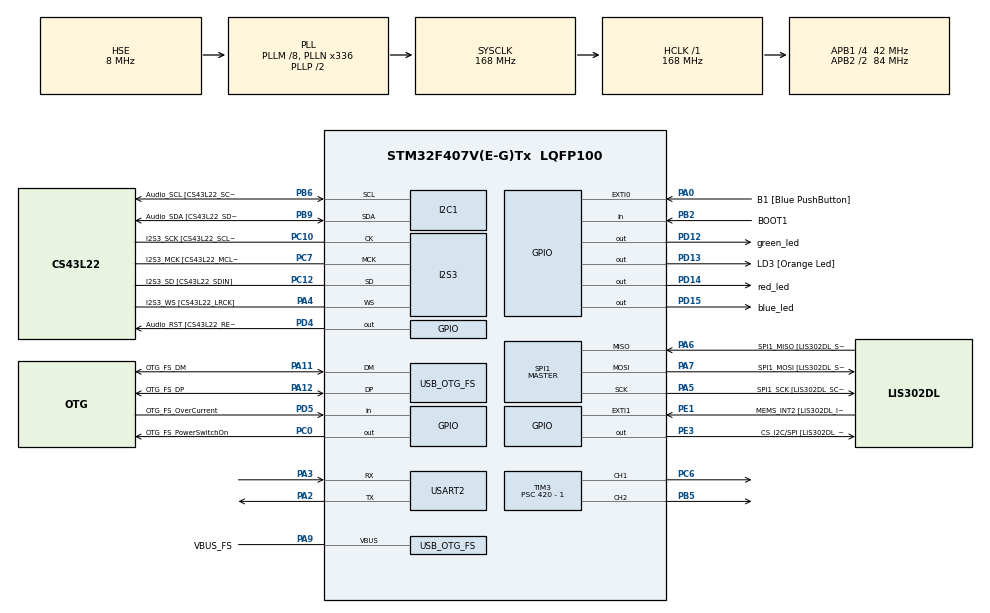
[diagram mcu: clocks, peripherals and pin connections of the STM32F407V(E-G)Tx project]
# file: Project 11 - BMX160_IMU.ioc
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I2S3.AudioFreq-Half_Duplex_Master=I2S_AUDIOFREQ_96K
I2S3.ErrorAudioFreq=-2.34 %
I2S3.ErrorAudioFreq-Half_Duplex_Master=0.8 %
I2S3.FullDuplexMode=I2S_FULLDUPLEXMODE_DISABLE
I2S3.Instance=SPI$Index
I2S3.RealAudioFreq=93.75 KHz
I2S3.RealAudioFreq-Half_Duplex_Master=96.774 KHz
I2S3.VirtualMode=I2S_MODE_MASTER
Mcu.Family=STM32F4
Mcu.Name=STM32F407V(E-G)Tx
Mcu.Package=LQFP100
NVIC.OTG_FS_IRQn=true\:0\:0\:false\:false\:true\:true\:true\:true
NVIC.PriorityGroup=NVIC_PRIORITYGROUP_0
NVIC.USART2_IRQn=true\:0\:0\:false\:false\:true\:true\:true\:true
PA0-WKUP.GPIO_Label=B1 [Blue PushButton]
PA0-WKUP.GPIO_ModeDefaultEXTI=GPIO_MODE_EVT_RISING
PA0-WKUP.GPIO_PuPd=GPIO_NOPULL
PA0-WKUP.Signal=GPXTI0
PA10.GPIO_Label=OTG_FS_ID
PA10.GPIO_Mode=GPIO_MODE_AF_PP
PA10.GPIO_PuPd=GPIO_NOPULL
PA10.GPIO_Speed=GPIO_SPEED_FREQ_LOW
PA10.Signal=USB_OTG_FS_ID
PA11.GPIO_Label=OTG_FS_DM
PA11.GPIO_Mode=GPIO_MODE_AF_PP
PA11.GPIO_PuPd=GPIO_NOPULL
PA11.GPIO_Speed=GPIO_SPEED_FREQ_LOW
PA11.Mode=Host_Only
PA11.Signal=USB_OTG_FS_DM
PA12.GPIO_Label=OTG_FS_DP
PA12.GPIO_Mode=GPIO_MODE_AF_PP
PA12.GPIO_PuPd=GPIO_NOPULL
PA12.GPIO_Speed=GPIO_SPEED_FREQ_LOW
PA12.Mode=Host_Only
PA12.Signal=USB_OTG_FS_DP
PA13.GPIO_Label=SWDIO
PA13.Mode=Serial_Wire
PA13.Signal=SYS_JTMS-SWDIO
PA14.GPIO_Label=SWCLK
PA14.Mode=Serial_Wire
PA14.Signal=SYS_JTCK-SWCLK
PA2.Mode=Asynchronous
PA2.Signal=USART2_TX
PA3.Mode=Asynchronous
PA3.Signal=USART2_RX
PA4.GPIO_Label=I2S3_WS [CS43L22_LRCK]
PA4.GPIO_Mode=GPIO_MODE_AF_PP
PA4.GPIO_PuPd=GPIO_NOPULL
PA4.GPIO_Speed=GPIO_SPEED_FREQ_LOW
PA4.Mode=Half_Duplex_Master
PA4.Signal=I2S3_WS
PA5.GPIO_Label=SPI1_SCK [LIS302DL_SCL/SPC]
PA5.GPIO_Mode=GPIO_MODE_AF_PP
PA5.GPIO_PuPd=GPIO_NOPULL
PA5.GPIO_Speed=GPIO_SPEED_FREQ_LOW
PA5.Mode=Full_Duplex_Master
PA5.Signal=SPI1_SCK
PA6.GPIO_Label=SPI1_MISO [LIS302DL_SDO]
PA6.GPIO_Mode=GPIO_MODE_AF_PP
PA6.GPIO_PuPd=GPIO_NOPULL
PA6.GPIO_Speed=GPIO_SPEED_FREQ_LOW
PA6.Mode=Full_Duplex_Master
PA6.Signal=SPI1_MISO
PA7.GPIO_Label=SPI1_MOSI [LIS302DL_SDA/SDI/SDO]
PA7.GPIO_Mode=GPIO_MODE_AF_PP
PA7.GPIO_PuPd=GPIO_NOPULL
PA7.GPIO_Speed=GPIO_SPEED_FREQ_LOW
PA7.Mode=Full_Duplex_Master
PA7.Signal=SPI1_MOSI
PA9.GPIO_Label=VBUS_FS
PA9.GPIO_Mode=GPIO_MODE_INPUT
PA9.GPIO_PuPd=GPIO_NOPULL
PA9.Mode=Activate_VBUS
PA9.Signal=USB_OTG_FS_VBUS
PB10.GPIO_Label=CLK_IN [MP45DT02_CLK]
PB10.GPIO_Mode=GPIO_MODE_AF_PP
PB10.GPIO_PuPd=GPIO_NOPULL
PB10.GPIO_Speed=GPIO_SPEED_FREQ_LOW
PB10.Signal=I2S2_CK
PB2.GPIO_Label=BOOT1
PB2.GPIO_Mode=GPIO_MODE_INPUT
PB2.GPIO_PuPd=GPIO_NOPULL
PB2.Signal=GPIO_Input
PB3.GPIO_Label=SWO
PB3.Signal=SYS_JTDO-SWO
PB5.Signal=S_TIM3_CH2
PB6.GPIO_Label=Audio_SCL [CS43L22_SCL]
PB6.GPIO_Mode=GPIO_MODE_AF_OD
PB6.GPIO_Pu=GPIO_PULLUP
PB6.GPIO_PuPd=GPIO_NOPULL
PB6.GPIO_Speed=GPIO_SPEED_FREQ_LOW
PB6.Mode=I2C
PB6.Signal=I2C1_SCL
PB9.GPIO_Label=Audio_SDA [CS43L22_SDA]
PB9.GPIO_Mode=GPIO_MODE_AF_OD
PB9.GPIO_Pu=GPIO_PULLUP
PB9.GPIO_PuPd=GPIO_NOPULL
PB9.GPIO_Speed=GPIO_SPEED_FREQ_LOW
PB9.Mode=I2C
PB9.Signal=I2C1_SDA
PC0.GPIO_Label=OTG_FS_PowerSwitchOn
PC0.GPIO_PuPd=GPIO_NOPULL
PC0.GPIO_Speed=GPIO_SPEED_FREQ_LOW
PC0.PinState=GPIO_PIN_SET
PC0.Signal=GPIO_Output
PC10.GPIO_Label=I2S3_SCK [CS43L22_SCLK]
PC10.GPIO_Mode=GPIO_MODE_AF_PP
PC10.GPIO_PuPd=GPIO_NOPULL
PC10.GPIO_Speed=GPIO_SPEED_FREQ_LOW
PC10.Mode=Half_Duplex_Master
PC10.Signal=I2S3_CK
PC12.GPIO_Label=I2S3_SD [CS43L22_SDIN]
PC12.GPIO_Mode=GPIO_MODE_AF_PP
PC12.GPIO_PuPd=GPIO_NOPULL
PC12.GPIO_Speed=GPIO_SPEED_FREQ_LOW
PC12.Mode=Half_Duplex_Master
PC12.Signal=I2S3_SD
PC14-OSC32_IN.GPIO_Label=PC14-OSC32_IN
PC14-OSC32_IN.Mode=LSE-External-Oscillator
PC14-OSC32_IN.Signal=RCC_OSC32_IN
PC15-OSC32_OUT.GPIO_Label=PC15-OSC32_OUT
PC15-OSC32_OUT.Mode=LSE-External-Oscillator
PC15-OSC32_OUT.Signal=RCC_OSC32_OUT
PC3.GPIO_Label=PDM_OUT [MP45DT02_DOUT]
PC3.GPIO_Mode=GPIO_MODE_AF_PP
PC3.GPIO_PuPd=GPIO_NOPULL
PC3.GPIO_Speed=GPIO_SPEED_FREQ_LOW
PC3.Signal=I2S2_SD
PC6.Signal=S_TIM3_CH1
PC7.GPIO_Label=I2S3_MCK [CS43L22_MCLK]
PC7.GPIO_Mode=GPIO_MODE_AF_PP
PC7.GPIO_PuPd=GPIO_NOPULL
PC7.GPIO_Speed=GPIO_SPEED_FREQ_LOW
PC7.Mode=Master_Clock_Activated
PC7.Signal=I2S3_MCK
PD12.GPIO_Label=green_led
PD12.GPIO_PuPd=GPIO_NOPULL
PD12.GPIO_Speed=GPIO_SPEED_FREQ_LOW
PD12.Signal=GPIO_Output
PD13.GPIO_Label=LD3 [Orange Led]
PD13.GPIO_PuPd=GPIO_NOPULL
PD13.GPIO_Speed=GPIO_SPEED_FREQ_LOW
PD13.Signal=GPIO_Output
PD14.GPIO_Label=red_led
PD14.GPIO_PuPd=GPIO_NOPULL
PD14.GPIO_Speed=GPIO_SPEED_FREQ_LOW
PD14.Signal=GPIO_Output
PD15.GPIO_Label=blue_led
PD15.GPIO_PuPd=GPIO_NOPULL
PD15.GPIO_Speed=GPIO_SPEED_FREQ_LOW
PD15.Signal=GPIO_Output
PD4.GPIO_Label=Audio_RST [CS43L22_RESET]
PD4.GPIO_PuPd=GPIO_NOPULL
PD4.GPIO_Speed=GPIO_SPEED_FREQ_LOW
PD4.Signal=GPIO_Output
PD5.GPIO_Label=OTG_FS_OverCurrent
PD5.GPIO_Mode=GPIO_MODE_INPUT
PD5.GPIO_PuPd=GPIO_NOPULL
PD5.Signal=GPIO_Input
PE1.GPIO_Label=MEMS_INT2 [LIS302DL_INT2]
PE1.GPIO_ModeDefaultEXTI=GPIO_MODE_EVT_RISING
PE1.GPIO_PuPd=GPIO_NOPULL
PE1.Signal=GPXTI1
PE3.GPIO_Label=CS_I2C/SPI [LIS302DL_CS_I2C/SPI]
PE3.GPIO_PuPd=GPIO_NOPULL
PE3.GPIO_Speed=GPIO_SPEED_FREQ_LOW
PE3.Signal=GPIO_Output
PH0-OSC_IN.GPIO_Label=PH0-OSC_IN
PH0-OSC_IN.Mode=HSE-External-Oscillator
PH0-OSC_IN.Signal=RCC_OSC_IN
PH1-OSC_OUT.GPIO_Label=PH1-OSC_OUT
PH1-OSC_OUT.Mode=HSE-External-Oscillator
PH1-OSC_OUT.Signal=RCC_OSC_OUT
ProjectManager.HeapSize=0x200
ProjectManager.StackSize=0x400
ProjectManager.TargetToolchain=STM32CubeIDE
RCC.48MHZClocksFreq_Value=48000000
RCC.AHBFreq_Value=168000000
RCC.APB1CLKDivider=RCC_HCLK_DIV4
RCC.APB1Freq_Value=42000000
RCC.APB1TimFreq_Value=84000000
RCC.APB2CLKDivider=RCC_HCLK_DIV2
RCC.APB2Freq_Value=84000000
RCC.APB2TimFreq_Value=168000000
RCC.CortexFreq_Value=168000000
RCC.HCLKFreq_Value=168000000
RCC.HSE_VALUE=8000000
RCC.HSI_VALUE=16000000
RCC.PLLM=8
RCC.PLLN=336
RCC.PLLQ=7
RCC.SYSCLKFreq_VALUE=168000000
RCC.SYSCLKSource=RCC_SYSCLKSOURCE_PLLCLK
RCC.VCOOutputFreq_Value=336000000
SH.S_TIM3_CH1.0=TIM3_CH1,PWM Generation1 CH1
SH.S_TIM3_CH2.0=TIM3_CH2,PWM Generation2 CH2
SPI1.BaudRatePrescaler-Full_Duplex_Master=SPI_BAUDRATEPRESCALER_2
SPI1.CalculateBaudRate-Full_Duplex_Master=42.0 MBits/s
SPI1.Direction=SPI_DIRECTION_2LINES
SPI1.Mode=SPI_MODE_MASTER
SPI1.Mode-Full_Duplex_Master=SPI_MODE_MASTER
SPI1.VirtualType=VM_MASTER
TIM1.Period=65535 - 1
TIM1.Prescaler=1680-1
TIM3.Channel-PWM\ Generation1\ CH1=TIM_CHANNEL_1
TIM3.Channel-PWM\ Generation2\ CH2=TIM_CHANNEL_2
TIM3.OCFastMode_PWM-PWM\ Generation1\ CH1=TIM_OCFAST_DISABLE
TIM3.OCMode_PWM-PWM\ Generation2\ CH2=TIM_OCMODE_PWM1
TIM3.Period=1000-1
TIM3.Prescaler=420 - 1
TIM3.Pulse-PWM\ Generation1\ CH1=0
TIM3.Pulse-PWM\ Generation2\ CH2=0
USART2.VirtualMode=VM_ASYNC
USB_HOST.BSP.number=1
USB_HOST.USBH_HandleTypeDef-CDC_FS=hUsbHostFS
USB_HOST.VirtualModeFS=Cdc
USB_HOST0.BSP.STBoard=false
USB_HOST0.BSP.api=Unknown
USB_HOST0.BSP.instance=PC0
USB_HOST0.BSP.ip=GPIO
USB_HOST0.BSP.mode=Output
USB_HOST0.BSP.name=Drive_VBUS_FS
USB_HOST0.BSP.solution=PC0
USB_OTG_FS.VirtualMode=Host_Only
USB_OTG_FS.phy_itface=HCD_PHY_EMBEDDED
VP_TIM1_VS_ClockSourceINT.Mode=Internal
VP_TIM3_VS_ClockSourceINT.Mode=Internal
VP_USB_HOST_VS_USB_HOST_CDC_FS.Mode=CDC_FS
board=STM32F407G-DISC1

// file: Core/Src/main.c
/* USER CODE BEGIN Header */
/**
  ******************************************************************************
  * @file           : main.c
  * @brief          : Main program body
  ******************************************************************************
  * @attention
  *
  * Copyright (c) 2023 STMicroelectronics.
  * All rights reserved.
  *
  * This software is licensed under terms that can be found in the LICENSE file
  * in the root directory of this software component.
  * If no LICENSE file comes with this software, it is provided AS-IS.
  *
  ******************************************************************************
  */
/* USER CODE END Header */
#include "main.h"
#include "usb_host.h"

/* USER CODE BEGIN Includes */

#include "bmi160.h"

#include "gimbal.h"

#include <stdint.h>

#include <stdio.h>
#include <string.h>

/* USER CODE END Includes */

/* USER CODE BEGIN PD */

#define PROGRAM_DELAY 20

/* USER CODE END PD */

I2C_HandleTypeDef hi2c1;

I2S_HandleTypeDef hi2s3;

SPI_HandleTypeDef hspi1;

TIM_HandleTypeDef htim1;
TIM_HandleTypeDef htim3;

UART_HandleTypeDef huart2;

void SystemClock_Config(void);
static void MX_GPIO_Init(void);
static void MX_I2C1_Init(void);
static void MX_I2S3_Init(void);
static void MX_SPI1_Init(void);
static void MX_USART2_UART_Init(void);
static void MX_TIM1_Init(void);
static void MX_TIM3_Init(void);
void MX_USB_HOST_Process(void);

/* USER CODE BEGIN 0 */

uint8_t Rx_data[2];

void HAL_UART_RxCpltCallback(UART_HandleTypeDef *huart)
{
	/*
	setGimbalPosition('X', Rx_data[0], &(TIM3->CCR1));
	setGimbalPosition('Y', Rx_data[1], &(TIM3->CCR2));
	*/

	HAL_UART_Receive_IT(&huart2, Rx_data, 2);
}

/* USER CODE END 0 */

int main(void)
{

  /* MCU Configuration--------------------------------------------------------*/

  /* Reset of all peripherals, Initializes the Flash interface and the Systick. */
  HAL_Init();

  /* Configure the system clock */
  SystemClock_Config();

  /* Initialize all configured peripherals */
  MX_GPIO_Init();
  MX_I2C1_Init();
  MX_I2S3_Init();
  MX_SPI1_Init();
  MX_USB_HOST_Init();
  MX_USART2_UART_Init();
  MX_TIM1_Init();
  MX_TIM3_Init();
  /* USER CODE BEGIN 2 */

  uint8_t connection_established = 0;

  // Start timer
  HAL_TIM_Base_Start(&htim1);

  uint16_t timer_prev;
  uint16_t timer_current;

  HAL_TIM_PWM_Start(&htim3, TIM_CHANNEL_1);
  HAL_TIM_PWM_Start(&htim3, TIM_CHANNEL_2);

  initGimbals();

  registerGimbal('X', ABSOLUTE_GIMBAL);
  registerGimbal('Y', ABSOLUTE_GIMBAL);

  /* USER CODE END 2 */

  /* Infinite loop */
  while (1)
  {
    MX_USB_HOST_Process();

    /* USER CODE BEGIN 3 */

    HAL_UART_Receive(&huart2, Rx_data, 2, 10);
    TIM3->CCR1 = 200 + (uint32_t) Rx_data[0];
    TIM3->CCR2 = 200 + (uint32_t) Rx_data[1];

    // Check connection
	if (connection_established == 0 && BMI160_Check(&hi2c1) == HAL_OK) { // Connect
		BMI160_Init(&hi2c1);
		connection_established = 1;

		//Restart timer
		timer_prev = __HAL_TIM_GET_COUNTER(&htim1);
		timer_current = __HAL_TIM_GET_COUNTER(&htim1);
	} else if (connection_established == 1 && BMI160_Check(&hi2c1) != HAL_OK) { // Disconnect
		connection_established = 0;
	}

	if (connection_established == 1) { // Run code
		int16_t GyroX = BMI160_read_int16(&hi2c1, BMI160_GYRO_DATA_ADDR);
		int16_t GyroY = BMI160_read_int16(&hi2c1, BMI160_GYRO_DATA_ADDR + 2);
		int16_t GyroZ = BMI160_read_int16(&hi2c1, BMI160_GYRO_DATA_ADDR + 4);

		int16_t AccX = BMI160_read_int16(&hi2c1, BMI160_ACCEL_DATA_ADDR);
		int16_t AccY = BMI160_read_int16(&hi2c1, BMI160_ACCEL_DATA_ADDR + 2);
		int16_t AccZ = BMI160_read_int16(&hi2c1, BMI160_ACCEL_DATA_ADDR + 4);

		timer_current = __HAL_TIM_GET_COUNTER(&htim1);

		char str[100];
		sprintf(str, "%d|%d|%d|%d|%d|%d|%d?", GyroX, GyroY, GyroZ, AccX, AccY, AccZ, timer_current - timer_prev);
		HAL_UART_Transmit(&huart2, &str, strlen(str), 10);

		timer_prev = __HAL_TIM_GET_COUNTER(&htim1);
	}

	HAL_Delay(PROGRAM_DELAY); //Delay
  }
  /* USER CODE END 3 */
}

void SystemClock_Config(void)
{
  RCC_OscInitTypeDef RCC_OscInitStruct = {0};
  RCC_ClkInitTypeDef RCC_ClkInitStruct = {0};

  /** Configure the main internal regulator output voltage
  */
  __HAL_RCC_PWR_CLK_ENABLE();
  __HAL_PWR_VOLTAGESCALING_CONFIG(PWR_REGULATOR_VOLTAGE_SCALE1);

  /** Initializes the RCC Oscillators according to the specified parameters
  * in the RCC_OscInitTypeDef structure.
  */
  RCC_OscInitStruct.OscillatorType = RCC_OSCILLATORTYPE_HSE;
  RCC_OscInitStruct.HSEState = RCC_HSE_ON;
  RCC_OscInitStruct.PLL.PLLState = RCC_PLL_ON;
  RCC_OscInitStruct.PLL.PLLSource = RCC_PLLSOURCE_HSE;
  RCC_OscInitStruct.PLL.PLLM = 8;
  RCC_OscInitStruct.PLL.PLLN = 336;
  RCC_OscInitStruct.PLL.PLLP = RCC_PLLP_DIV2;
  RCC_OscInitStruct.PLL.PLLQ = 7;
  if (HAL_RCC_OscConfig(&RCC_OscInitStruct) != HAL_OK)
  {
    Error_Handler();
  }

  /** Initializes the CPU, AHB and APB buses clocks
  */
  RCC_ClkInitStruct.ClockType = RCC_CLOCKTYPE_HCLK|RCC_CLOCKTYPE_SYSCLK
                              |RCC_CLOCKTYPE_PCLK1|RCC_CLOCKTYPE_PCLK2;
  RCC_ClkInitStruct.SYSCLKSource = RCC_SYSCLKSOURCE_PLLCLK;
  RCC_ClkInitStruct.AHBCLKDivider = RCC_SYSCLK_DIV1;
  RCC_ClkInitStruct.APB1CLKDivider = RCC_HCLK_DIV4;
  RCC_ClkInitStruct.APB2CLKDivider = RCC_HCLK_DIV2;

  if (HAL_RCC_ClockConfig(&RCC_ClkInitStruct, FLASH_LATENCY_5) != HAL_OK)
  {
    Error_Handler();
  }
}

static void MX_I2C1_Init(void)
{

  hi2c1.Instance = I2C1;
  hi2c1.Init.ClockSpeed = 100000;
  hi2c1.Init.DutyCycle = I2C_DUTYCYCLE_2;
  hi2c1.Init.OwnAddress1 = 0;
  hi2c1.Init.AddressingMode = I2C_ADDRESSINGMODE_7BIT;
  hi2c1.Init.DualAddressMode = I2C_DUALADDRESS_DISABLE;
  hi2c1.Init.OwnAddress2 = 0;
  hi2c1.Init.GeneralCallMode = I2C_GENERALCALL_DISABLE;
  hi2c1.Init.NoStretchMode = I2C_NOSTRETCH_DISABLE;
  if (HAL_I2C_Init(&hi2c1) != HAL_OK)
  {
    Error_Handler();
  }

}

static void MX_I2S3_Init(void)
{

  hi2s3.Instance = SPI3;
  hi2s3.Init.Mode = I2S_MODE_MASTER_TX;
  hi2s3.Init.Standard = I2S_STANDARD_PHILIPS;
  hi2s3.Init.DataFormat = I2S_DATAFORMAT_16B;
  hi2s3.Init.MCLKOutput = I2S_MCLKOUTPUT_ENABLE;
  hi2s3.Init.AudioFreq = I2S_AUDIOFREQ_96K;
  hi2s3.Init.CPOL = I2S_CPOL_LOW;
  hi2s3.Init.ClockSource = I2S_CLOCK_PLL;
  hi2s3.Init.FullDuplexMode = I2S_FULLDUPLEXMODE_DISABLE;
  if (HAL_I2S_Init(&hi2s3) != HAL_OK)
  {
    Error_Handler();
  }

}

static void MX_SPI1_Init(void)
{

  /* SPI1 parameter configuration*/
  hspi1.Instance = SPI1;
  hspi1.Init.Mode = SPI_MODE_MASTER;
  hspi1.Init.Direction = SPI_DIRECTION_2LINES;
  hspi1.Init.DataSize = SPI_DATASIZE_8BIT;
  hspi1.Init.CLKPolarity = SPI_POLARITY_LOW;
  hspi1.Init.CLKPhase = SPI_PHASE_1EDGE;
  hspi1.Init.NSS = SPI_NSS_SOFT;
  hspi1.Init.BaudRatePrescaler = SPI_BAUDRATEPRESCALER_2;
  hspi1.Init.FirstBit = SPI_FIRSTBIT_MSB;
  hspi1.Init.TIMode = SPI_TIMODE_DISABLE;
  hspi1.Init.CRCCalculation = SPI_CRCCALCULATION_DISABLE;
  hspi1.Init.CRCPolynomial = 10;
  if (HAL_SPI_Init(&hspi1) != HAL_OK)
  {
    Error_Handler();
  }

}

static void MX_TIM1_Init(void)
{

  TIM_ClockConfigTypeDef sClockSourceConfig = {0};
  TIM_MasterConfigTypeDef sMasterConfig = {0};

  htim1.Instance = TIM1;
  htim1.Init.Prescaler = 1680-1;
  htim1.Init.CounterMode = TIM_COUNTERMODE_UP;
  htim1.Init.Period = 65535 - 1;
  htim1.Init.ClockDivision = TIM_CLOCKDIVISION_DIV1;
  htim1.Init.RepetitionCounter = 0;
  htim1.Init.AutoReloadPreload = TIM_AUTORELOAD_PRELOAD_DISABLE;
  if (HAL_TIM_Base_Init(&htim1) != HAL_OK)
  {
    Error_Handler();
  }
  sClockSourceConfig.ClockSource = TIM_CLOCKSOURCE_INTERNAL;
  if (HAL_TIM_ConfigClockSource(&htim1, &sClockSourceConfig) != HAL_OK)
  {
    Error_Handler();
  }
  sMasterConfig.MasterOutputTrigger = TIM_TRGO_RESET;
  sMasterConfig.MasterSlaveMode = TIM_MASTERSLAVEMODE_DISABLE;
  if (HAL_TIMEx_MasterConfigSynchronization(&htim1, &sMasterConfig) != HAL_OK)
  {
    Error_Handler();
  }

}

static void MX_TIM3_Init(void)
{

  TIM_ClockConfigTypeDef sClockSourceConfig = {0};
  TIM_MasterConfigTypeDef sMasterConfig = {0};
  TIM_OC_InitTypeDef sConfigOC = {0};

  htim3.Instance = TIM3;
  htim3.Init.Prescaler = 420 - 1;
  htim3.Init.CounterMode = TIM_COUNTERMODE_UP;
  htim3.Init.Period = 1000-1;
  htim3.Init.ClockDivision = TIM_CLOCKDIVISION_DIV1;
  htim3.Init.AutoReloadPreload = TIM_AUTORELOAD_PRELOAD_DISABLE;
  if (HAL_TIM_Base_Init(&htim3) != HAL_OK)
  {
    Error_Handler();
  }
  sClockSourceConfig.ClockSource = TIM_CLOCKSOURCE_INTERNAL;
  if (HAL_TIM_ConfigClockSource(&htim3, &sClockSourceConfig) != HAL_OK)
  {
    Error_Handler();
  }
  if (HAL_TIM_PWM_Init(&htim3) != HAL_OK)
  {
    Error_Handler();
  }
  sMasterConfig.MasterOutputTrigger = TIM_TRGO_RESET;
  sMasterConfig.MasterSlaveMode = TIM_MASTERSLAVEMODE_DISABLE;
  if (HAL_TIMEx_MasterConfigSynchronization(&htim3, &sMasterConfig) != HAL_OK)
  {
    Error_Handler();
  }
  sConfigOC.OCMode = TIM_OCMODE_PWM1;
  sConfigOC.Pulse = 0;
  sConfigOC.OCPolarity = TIM_OCPOLARITY_HIGH;
  sConfigOC.OCFastMode = TIM_OCFAST_DISABLE;
  if (HAL_TIM_PWM_ConfigChannel(&htim3, &sConfigOC, TIM_CHANNEL_1) != HAL_OK)
  {
    Error_Handler();
  }
  if (HAL_TIM_PWM_ConfigChannel(&htim3, &sConfigOC, TIM_CHANNEL_2) != HAL_OK)
  {
    Error_Handler();
  }
  HAL_TIM_MspPostInit(&htim3);

}

static void MX_USART2_UART_Init(void)
{

  huart2.Instance = USART2;
  huart2.Init.BaudRate = 115200;
  huart2.Init.WordLength = UART_WORDLENGTH_8B;
  huart2.Init.StopBits = UART_STOPBITS_1;
  huart2.Init.Parity = UART_PARITY_NONE;
  huart2.Init.Mode = UART_MODE_TX_RX;
  huart2.Init.HwFlowCtl = UART_HWCONTROL_NONE;
  huart2.Init.OverSampling = UART_OVERSAMPLING_16;
  if (HAL_UART_Init(&huart2) != HAL_OK)
  {
    Error_Handler();
  }

}

static void MX_GPIO_Init(void)
{
  GPIO_InitTypeDef GPIO_InitStruct = {0};

  /* GPIO Ports Clock Enable */
  __HAL_RCC_GPIOE_CLK_ENABLE();
  __HAL_RCC_GPIOC_CLK_ENABLE();
  __HAL_RCC_GPIOH_CLK_ENABLE();
  __HAL_RCC_GPIOA_CLK_ENABLE();
  __HAL_RCC_GPIOB_CLK_ENABLE();
  __HAL_RCC_GPIOD_CLK_ENABLE();

  /*Configure GPIO pin Output Level */
  HAL_GPIO_WritePin(CS_I2C_SPI_GPIO_Port, CS_I2C_SPI_Pin, GPIO_PIN_RESET);

  /*Configure GPIO pin Output Level */
  HAL_GPIO_WritePin(OTG_FS_PowerSwitchOn_GPIO_Port, OTG_FS_PowerSwitchOn_Pin, GPIO_PIN_SET);

  /*Configure GPIO pin Output Level */
  HAL_GPIO_WritePin(GPIOD, green_led_Pin|LD3_Pin|red_led_Pin|blue_led_Pin
                          |Audio_RST_Pin, GPIO_PIN_RESET);

  /*Configure GPIO pin : CS_I2C_SPI_Pin */
  GPIO_InitStruct.Pin = CS_I2C_SPI_Pin;
  GPIO_InitStruct.Mode = GPIO_MODE_OUTPUT_PP;
  GPIO_InitStruct.Pull = GPIO_NOPULL;
  GPIO_InitStruct.Speed = GPIO_SPEED_FREQ_LOW;
  HAL_GPIO_Init(CS_I2C_SPI_GPIO_Port, &GPIO_InitStruct);

  /*Configure GPIO pin : OTG_FS_PowerSwitchOn_Pin */
  GPIO_InitStruct.Pin = OTG_FS_PowerSwitchOn_Pin;
  GPIO_InitStruct.Mode = GPIO_MODE_OUTPUT_PP;
  GPIO_InitStruct.Pull = GPIO_NOPULL;
  GPIO_InitStruct.Speed = GPIO_SPEED_FREQ_LOW;
  HAL_GPIO_Init(OTG_FS_PowerSwitchOn_GPIO_Port, &GPIO_InitStruct);

  /*Configure GPIO pin : PDM_OUT_Pin */
  GPIO_InitStruct.Pin = PDM_OUT_Pin;
  GPIO_InitStruct.Mode = GPIO_MODE_AF_PP;
  GPIO_InitStruct.Pull = GPIO_NOPULL;
  GPIO_InitStruct.Speed = GPIO_SPEED_FREQ_LOW;
  GPIO_InitStruct.Alternate = GPIO_AF5_SPI2;
  HAL_GPIO_Init(PDM_OUT_GPIO_Port, &GPIO_InitStruct);

  /*Configure GPIO pin : B1_Pin */
  GPIO_InitStruct.Pin = B1_Pin;
  GPIO_InitStruct.Mode = GPIO_MODE_EVT_RISING;
  GPIO_InitStruct.Pull = GPIO_NOPULL;
  HAL_GPIO_Init(B1_GPIO_Port, &GPIO_InitStruct);

  /*Configure GPIO pin : BOOT1_Pin */
  GPIO_InitStruct.Pin = BOOT1_Pin;
  GPIO_InitStruct.Mode = GPIO_MODE_INPUT;
  GPIO_InitStruct.Pull = GPIO_NOPULL;
  HAL_GPIO_Init(BOOT1_GPIO_Port, &GPIO_InitStruct);

  /*Configure GPIO pin : CLK_IN_Pin */
  GPIO_InitStruct.Pin = CLK_IN_Pin;
  GPIO_InitStruct.Mode = GPIO_MODE_AF_PP;
  GPIO_InitStruct.Pull = GPIO_NOPULL;
  GPIO_InitStruct.Speed = GPIO_SPEED_FREQ_LOW;
  GPIO_InitStruct.Alternate = GPIO_AF5_SPI2;
  HAL_GPIO_Init(CLK_IN_GPIO_Port, &GPIO_InitStruct);

  /*Configure GPIO pins : green_led_Pin LD3_Pin red_led_Pin blue_led_Pin
                           Audio_RST_Pin */
  GPIO_InitStruct.Pin = green_led_Pin|LD3_Pin|red_led_Pin|blue_led_Pin
                          |Audio_RST_Pin;
  GPIO_InitStruct.Mode = GPIO_MODE_OUTPUT_PP;
  GPIO_InitStruct.Pull = GPIO_NOPULL;
  GPIO_InitStruct.Speed = GPIO_SPEED_FREQ_LOW;
  HAL_GPIO_Init(GPIOD, &GPIO_InitStruct);

  /*Configure GPIO pin : OTG_FS_OverCurrent_Pin */
  GPIO_InitStruct.Pin = OTG_FS_OverCurrent_Pin;
  GPIO_InitStruct.Mode = GPIO_MODE_INPUT;
  GPIO_InitStruct.Pull = GPIO_NOPULL;
  HAL_GPIO_Init(OTG_FS_OverCurrent_GPIO_Port, &GPIO_InitStruct);

  /*Configure GPIO pin : MEMS_INT2_Pin */
  GPIO_InitStruct.Pin = MEMS_INT2_Pin;
  GPIO_InitStruct.Mode = GPIO_MODE_EVT_RISING;
  GPIO_InitStruct.Pull = GPIO_NOPULL;
  HAL_GPIO_Init(MEMS_INT2_GPIO_Port, &GPIO_InitStruct);

}

void Error_Handler(void)
{
  __disable_irq();
  while (1)
  {
  }
}
